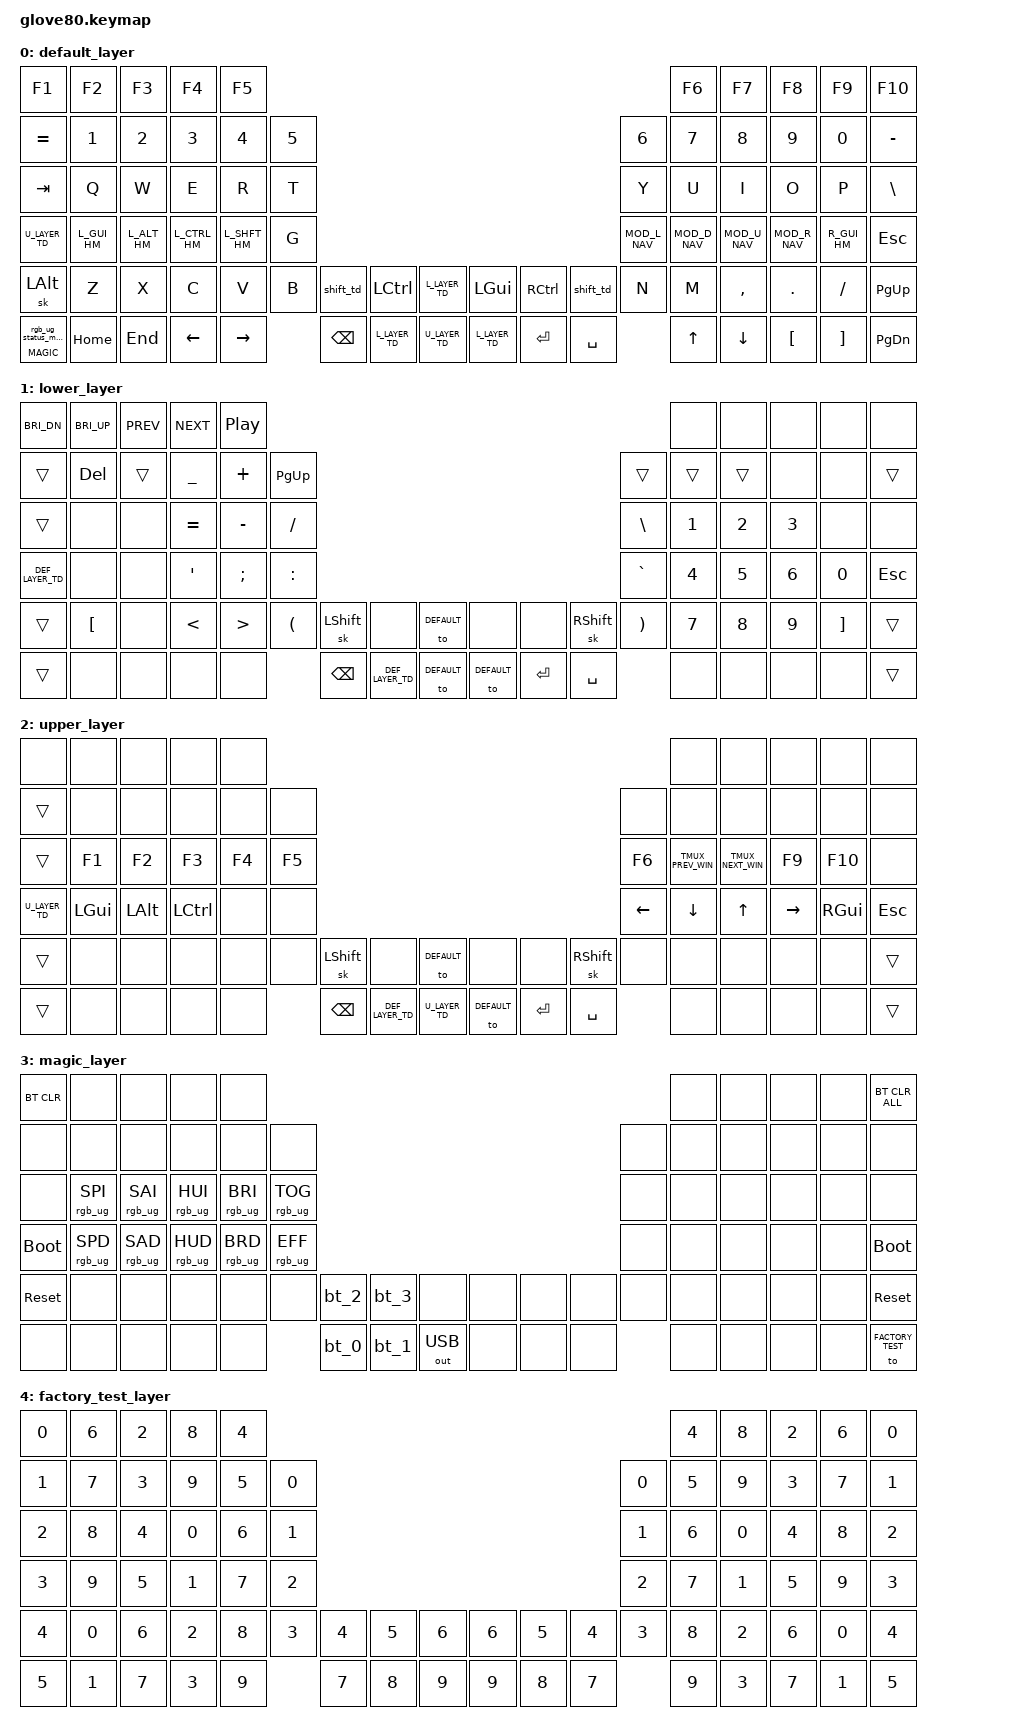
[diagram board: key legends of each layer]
/*
 * Copyright (c) 2020 The ZMK Contributors
 *
 * SPDX-License-Identifier: MIT
 */

#include <behaviors.dtsi>
#include <dt-bindings/zmk/keys.h>
#include <dt-bindings/zmk/bt.h>
#include <dt-bindings/zmk/ext_power.h>
#include <dt-bindings/zmk/outputs.h>
#include <dt-bindings/zmk/rgb.h>

#define HYPER LC(LS(LG(LALT)))

// layers
#define DEFAULT 0
#define LOWER 1
#define UPPER 2
#define MAGIC 3
#define FACTORY_TEST 4

&sk {
    release-after-ms = <2000>;
    quick-release;
};

&sl {
    release-after-ms = <2000>;
    quick-release;
};

/ {
    behaviors {
        hm: homerow_mods {
            compatible = "zmk,behavior-hold-tap";
            #binding-cells = <2>;
            tapping-term-ms = <250>;
            quick-tap-ms = <200>;
            require-prior-idle-ms = <100>;
            retro-tap;
            flavor = "balanced";
            bindings = <&kp>, <&kp>;
        };
    };
};

/ {
    macros {
        tmux_window_nav: tmux_window_nav {
            compatible = "zmk,behavior-macro-one-param";
            #binding-cells = <1>;
            bindings
                    = <&macro_press &kp RCTRL &kp A>
                    , <&macro_tap &kp>
                    , <&macro_release &kp RCTRL &kp A>;
        };
    };
};


// HOME ROW MODS
// CMD 
#define L_GUI_HM hm LGUI A
#define R_GUI_HM hm RGUI TAB
// ALT
#define L_ALT_HM hm LALT S
#define R_ALT_HM hm RALT L
// CTRL
#define L_CTRL_HM hm LCTRL D
#define R_CTRL_HM hm RCTRL K 
// SHIFT
#define L_SHFT_HM hm LSHFT F
#define R_SHFT_HM hm RSHFT J 


// TMUX HOTKEYS
// MOVE TO NEXT WINDOW
#define TMUX_NEXT_WIN tmux_window_nav SPACE
#define TMUX_PREV_WIN tmux_window_nav BSPC


/ {
    behaviors {
        
        // HOME ROW MOD NAVIGATION
        MOD_L_NAV: mod_left_navigation {
            #binding-cells = <0>;
            compatible = "zmk,behavior-mod-morph";
            bindings = <&kp H>, <&kp LEFT>;
            mods = <(MOD_LGUI|MOD_LALT|MOD_LCTL)>;
            keep-mods = <(MOD_LGUI|MOD_LALT|MOD_LCTL)>;
        };

        MOD_D_NAV: mod_down_navigation {
            #binding-cells = <0>;
            compatible = "zmk,behavior-mod-morph";
            bindings = <&R_SHFT_HM>, <&kp DOWN>;
            mods = <(MOD_LGUI|MOD_LALT|MOD_LCTL)>;
            keep-mods = <(MOD_LGUI|MOD_LALT|MOD_LCTL)>;
        };

        MOD_U_NAV: mod_upper_navigation {
            #binding-cells = <0>;
            compatible = "zmk,behavior-mod-morph";
            bindings = <&R_CTRL_HM>, <&kp UP>;
            mods = <(MOD_LGUI|MOD_LALT|MOD_LCTL)>;
            keep-mods = <(MOD_LGUI|MOD_LALT|MOD_LCTL)>;
        };

        MOD_R_NAV: mod_right_navigation {
            #binding-cells = <0>;
            compatible = "zmk,behavior-mod-morph";
            bindings = <&R_ALT_HM>, <&kp RIGHT>;
            mods = <(MOD_LGUI|MOD_LALT|MOD_LCTL)>;
            keep-mods = <(MOD_LGUI|MOD_LALT|MOD_LCTL)>;
        };

        magic: magic_hold_tap {
            compatible = "zmk,behavior-hold-tap";
            label = "MAGIC_HOLD_TAP";
            #binding-cells = <2>;
            flavor = "tap-preferred";
            tapping-term-ms = <200>;
            bindings = <&mo>, <&rgb_ug_status_macro>;
        };
    };

    macros {
        rgb_ug_status_macro: rgb_ug_status_macro_0 {
            label = "RGB_UG_STATUS";
            compatible = "zmk,behavior-macro";
            #binding-cells = <0>;
            bindings
                = <&rgb_ug RGB_STATUS>;
        };

        bt_0: bt_profile_macro_0 {
            label = "BT_0";
            compatible = "zmk,behavior-macro";
            #binding-cells = <0>;
            bindings
                = <&out OUT_BLE>,
                  <&bt BT_SEL 0>;
        };

        bt_1: bt_profile_macro_1 {
            label = "BT_1";
            compatible = "zmk,behavior-macro";
            #binding-cells = <0>;
            bindings
                = <&out OUT_BLE>,
                  <&bt BT_SEL 1>;
        };

        bt_2: bt_profile_macro_2 {
            label = "BT_2";
            compatible = "zmk,behavior-macro";
            #binding-cells = <0>;
            bindings
                = <&out OUT_BLE>,
                  <&bt BT_SEL 2>;
        };

        bt_3: bt_profile_macro_3 {
            label = "BT_3";
            compatible = "zmk,behavior-macro";
            #binding-cells = <0>;
            bindings
                = <&out OUT_BLE>,
                  <&bt BT_SEL 3>;
        };
    };

    behaviors {
        shift_td: shift_td {
            #binding-cells = <0>;
            compatible = "zmk,behavior-tap-dance";
            bindings = <&sk LSHIFT>, <&caps_word>;
            tapping-term-ms = <400>;
        };

        L_LAYER_TD: L_LAYER_TD {
            #binding-cells = <0>;
            compatible = "zmk,behavior-tap-dance"; 
            bindings = <&sl LOWER>, <&tog LOWER>; 
            tapping-term-ms = <400>;
        };

        U_LAYER_TD: U_LAYER_TD {
            #binding-cells = <0>;
            compatible = "zmk,behavior-tap-dance"; 
            bindings = <&sl UPPER>, <&tog UPPER>; 
            tapping-term-ms = <400>;
        };

        DEF_LAYER_TD: DEF_LAYER_TD { 
            #binding-cells = <0>;
            compatible = "zmk,behavior-tap-dance"; 
            bindings = <&to DEFAULT>, <&to DEFAULT>; 
            tapping-term-ms = <400>;
        };
    };

    keymap {
        compatible = "zmk,keymap";

        default_layer {
            // ---------------------------------------------------------------------------------------------------------------------------------
            // |  F1       |       F2        |         F3         |         F4           |          F5             |                                                                                                                                           |           F6                |         F7               |        F8            |           F9             |         F10          |
            // |  =        |       1         |         2          |         3            |          4              |        5              |                                                                                                 |      6          |            7                |          8               |         9            |            0             |           -          |
            // |  TAB      |       Q         |         W          |         E            |          R              |        T              |                                                                                                 |      Y          |            U                |          I               |         O            |            P             |           \          |
            // |  ESC      |       A         |         S          |         D            |          F              |        G              |                                                                                                 |      H          |            J                |          K               |         L            |            ;             |           '          |
            // |   `       |       Z         |         X          |         C            |          V              |        B              |      LSHFT    |    LCTRL       |      LOWER        | |     LGUI        |    RCTRL   |  RSHFT    |      N          |            M                |          ,               |         .            |            /             |          PGUP        |
            // | MAGIC     |      HOME       |        END         |        LEFT          |         RIGHT           |                       |      BSPC     |    DEL         |      LALT         | |     RALT        |    RET     |  SPACE    |                 |           UP                |        DOWN              |         [            |            ]             |          PGDN        |

            bindings = <
            &kp F1              &kp F2              &kp F3                &kp F4                  &kp F5                                                                                                                                                                 &kp F6                      &kp F7                    &kp F8                     &kp F9                   &kp F10
            &kp EQUAL           &kp N1              &kp N2                &kp N3                  &kp N4                  &kp N5                                                                                                                 &kp N6                  &kp N7                      &kp N8                    &kp N9                     &kp N0                   &kp MINUS
            &kp TAB             &kp Q               &kp W                 &kp E                   &kp R                   &kp T                                                                                                                  &kp Y                   &kp U                       &kp I                     &kp O                      &kp P                    &kp BSLH
            &U_LAYER_TD         &L_GUI_HM           &L_ALT_HM             &L_CTRL_HM              &L_SHFT_HM              &kp G                                                                                                                  &MOD_L_NAV              &MOD_D_NAV                  &MOD_U_NAV                &MOD_R_NAV                 &R_GUI_HM                &kp ESC
            &sk LALT            &kp Z               &kp X                 &kp C                   &kp V                   &kp B                  &shift_td   &kp LCTRL           &L_LAYER_TD           &kp LGUI        &kp RCTRL   &shift_td     &kp N                   &kp M                       &kp COMMA                 &kp DOT                    &kp FSLH                 &kp PG_UP
            &magic MAGIC 0      &kp HOME            &kp END               &kp LEFT                &kp RIGHT                                      &kp BSPC    &L_LAYER_TD         &U_LAYER_TD           &L_LAYER_TD     &kp ENTER   &kp SPACE                             &kp UP                      &kp DOWN                  &kp LBKT                   &kp RBKT                 &kp PG_DN
            >;
        };

        lower_layer {
            bindings = <
            &kp C_BRI_DN        &kp C_BRI_UP        &kp C_PREV            &kp C_NEXT              &kp C_PP                                                                                                                                                               &none                       &none                     &none                      &none                    &none
            &trans              &kp DELETE          &trans                &kp UNDERSCORE          &kp PLUS                &kp PAGE_UP                                                                                                            &trans                  &trans                      &trans                    &none                      &none                    &trans
            &trans              &none               &none                 &kp EQUAL               &kp MINUS               &kp FSLH                                                                                                               &kp BSLH                &kp NUMBER_1                &kp NUMBER_2              &kp NUMBER_3               &none                    &none
            &DEF_LAYER_TD       &none               &none                 &kp SINGLE_QUOTE        &kp SEMICOLON           &kp COLON                                                                                                              &kp GRAVE               &kp NUMBER_4                &kp NUMBER_5              &kp NUMBER_6               &kp NUMBER_0             &kp ESC
            &trans              &kp LEFT_BRACKET    &none                 &kp LESS_THAN           &kp GREATER_THAN        &kp LEFT_PARENTHESIS   &sk LSHFT   &none              &to DEFAULT            &none            &none       &sk RSHFT    &kp RIGHT_PARENTHESIS   &kp NUMBER_7                &kp NUMBER_8              &kp NUMBER_9               &kp RIGHT_BRACKET        &trans 
            &trans              &none               &none                 &none                   &none                                          &kp BSPC    &DEF_LAYER_TD      &to DEFAULT            &to DEFAULT      &kp ENTER   &kp SPACE                            &none                       &none                     &none                      &none                    &trans
            >;
        };

        upper_layer {
            bindings = <
            &none               &none               &none                 &none                   &none                                                                                                                                                                  &none                       &none                     &none                      &none                    &none
            &trans              &none               &none                 &none                   &none                   &none                                                                                                                  &none                   &none                       &none                     &none                      &none                    &none 
            &trans              &kp F1              &kp F2                &kp F3                  &kp F4                  &kp F5                                                                                                                 &kp F6                  &TMUX_PREV_WIN              &TMUX_NEXT_WIN         &kp F9                     &kp F10                  &none 
            &U_LAYER_TD         &kp LGUI            &kp LALT              &kp LCTRL               &none                   &none                                                                                                                  &kp LEFT                &kp DOWN                    &kp UP                    &kp RIGHT                  &kp RGUI                 &kp ESC 
            &trans              &none               &none                 &none                   &none                   &none                  &sk LSHFT   &none              &to DEFAULT            &none            &none       &sk RSHFT    &none                   &none                       &none                     &none                      &none                    &trans
            &trans              &none               &none                 &none                   &none                                          &kp BSPC    &DEF_LAYER_TD      &U_LAYER_TD            &to DEFAULT      &kp ENTER   &kp SPACE                            &none                       &none                     &none                      &none                    &trans
            >;
        };

        magic_layer {
            bindings = <
            &bt BT_CLR        &none               &none           &none           &none                                                                                                           &none      &none      &none      &none      &bt BT_CLR_ALL
            &none             &none               &none           &none           &none           &none                                                                                &none      &none      &none      &none      &none      &none
            &none             &rgb_ug RGB_SPI     &rgb_ug RGB_SAI &rgb_ug RGB_HUI &rgb_ug RGB_BRI &rgb_ug RGB_TOG                                                                      &none      &none      &none      &none      &none      &none
            &bootloader       &rgb_ug RGB_SPD     &rgb_ug RGB_SAD &rgb_ug RGB_HUD &rgb_ug RGB_BRD &rgb_ug RGB_EFF                                                                      &none      &none      &none      &none      &none      &bootloader
            &sys_reset        &none               &none           &none           &none           &none           &bt_2     &bt_3     &none            &none     &none     &none       &none      &none      &none      &none      &none      &sys_reset
            &none             &none               &none           &none           &none                           &bt_0     &bt_1     &out OUT_USB     &none     &none     &none                  &none      &none      &none      &none      &to FACTORY_TEST
            >;
        };

        factory_test_layer {
            bindings = <
            &kp N0            &kp N6              &kp N2          &kp N8          &kp N4                                                                                                         &kp N4     &kp N8     &kp N2     &kp N6     &kp N0
            &kp N1            &kp N7              &kp N3          &kp N9          &kp N5          &kp N0                                                                              &kp N0     &kp N5     &kp N9     &kp N3     &kp N7     &kp N1
            &kp N2            &kp N8              &kp N4          &kp N0          &kp N6          &kp N1                                                                              &kp N1     &kp N6     &kp N0     &kp N4     &kp N8     &kp N2
            &kp N3            &kp N9              &kp N5          &kp N1          &kp N7          &kp N2                                                                              &kp N2     &kp N7     &kp N1     &kp N5     &kp N9     &kp N3
            &kp N4            &kp N0              &kp N6          &kp N2          &kp N8          &kp N3          &kp N4    &kp N5    &kp N6           &kp N6    &kp N5    &kp N4     &kp N3     &kp N8     &kp N2     &kp N6     &kp N0     &kp N4
            &kp N5            &kp N1              &kp N7          &kp N3          &kp N9                          &kp N7    &kp N8    &kp N9           &kp N9    &kp N8    &kp N7                &kp N9     &kp N3     &kp N7     &kp N1     &kp N5
            >;
        };
    };
};
